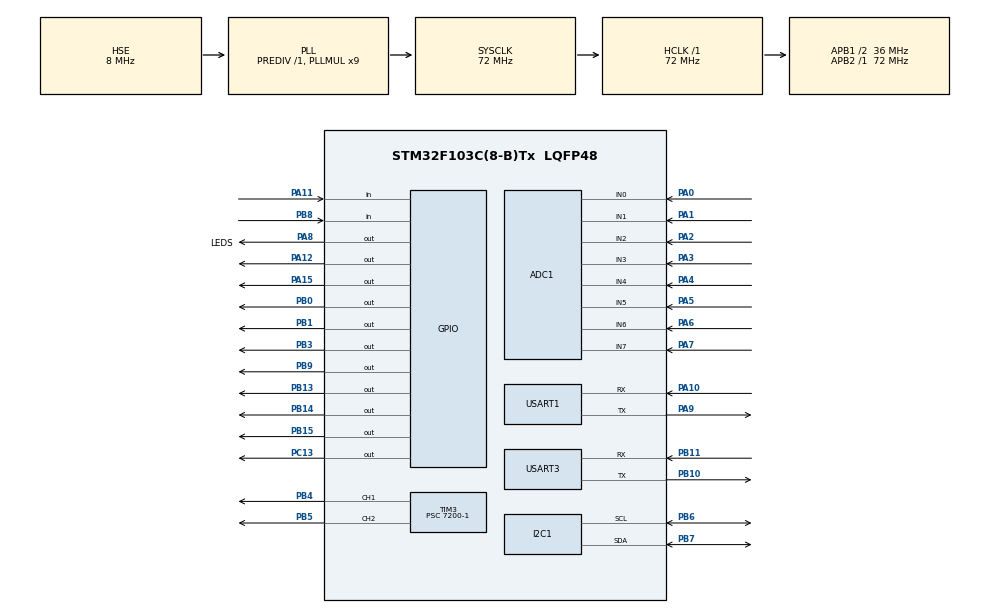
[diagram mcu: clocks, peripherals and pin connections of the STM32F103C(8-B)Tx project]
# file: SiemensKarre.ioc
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ADC1.Channel-8\#ChannelRegularConversion=ADC_CHANNEL_0
ADC1.EnableRegularConversion=ENABLE
ADC1.NbrOfConversionFlag=1
ADC1.Rank-8\#ChannelRegularConversion=1
ADC1.SamplingTime-8\#ChannelRegularConversion=ADC_SAMPLETIME_1CYCLE_5
ADC1.master=1
Mcu.Family=STM32F1
Mcu.Name=STM32F103C(8-B)Tx
Mcu.Package=LQFP48
NVIC.PriorityGroup=NVIC_PRIORITYGROUP_4
NVIC.TIM2_IRQn=true\:0\:0\:false\:false\:true\:true\:true
NVIC.TIM4_IRQn=true\:0\:0\:false\:false\:true\:true\:true
NVIC.USART1_IRQn=true\:0\:0\:false\:false\:true\:true\:true
PA0-WKUP.Signal=ADCx_IN0
PA1.Signal=ADCx_IN1
PA10.Mode=Asynchronous
PA10.Signal=USART1_RX
PA11.Signal=GPIO_Input
PA12.Signal=GPIO_Output
PA13.Mode=Serial_Wire
PA13.Signal=SYS_JTMS-SWDIO
PA14.Mode=Serial_Wire
PA14.Signal=SYS_JTCK-SWCLK
PA15.Signal=GPIO_Output
PA2.Signal=ADCx_IN2
PA3.Signal=ADCx_IN3
PA4.Signal=ADCx_IN4
PA5.Signal=ADCx_IN5
PA6.Signal=ADCx_IN6
PA7.Signal=ADCx_IN7
PA8.GPIO_Label=LEDS
PA8.GPIO_Speed=GPIO_SPEED_FREQ_HIGH
PA8.PinState=GPIO_PIN_RESET
PA8.Signal=GPIO_Output
PA9.Mode=Asynchronous
PA9.Signal=USART1_TX
PB0.GPIO_ModeDefaultOutputPP=GPIO_MODE_OUTPUT_PP
PB0.PinState=GPIO_PIN_SET
PB0.Signal=GPIO_Output
PB1.Signal=GPIO_Output
PB10.Mode=Asynchronous
PB10.Signal=USART3_TX
PB11.Mode=Asynchronous
PB11.Signal=USART3_RX
PB13.Signal=GPIO_Output
PB14.Signal=GPIO_Output
PB15.Signal=GPIO_Output
PB3.Signal=GPIO_Output
PB4.Signal=S_TIM3_CH1
PB5.Signal=S_TIM3_CH2
PB6.Mode=I2C
PB6.Signal=I2C1_SCL
PB7.Mode=I2C
PB7.Signal=I2C1_SDA
PB8.Signal=GPIO_Input
PB9.Signal=GPIO_Output
PC13-TAMPER-RTC.Signal=GPIO_Output
PC14-OSC32_IN.Mode=LSE-External-Oscillator
PC14-OSC32_IN.Signal=RCC_OSC32_IN
PC15-OSC32_OUT.Mode=LSE-External-Oscillator
PC15-OSC32_OUT.Signal=RCC_OSC32_OUT
PD0-OSC_IN.Mode=HSE-External-Oscillator
PD0-OSC_IN.Signal=RCC_OSC_IN
PD1-OSC_OUT.Mode=HSE-External-Oscillator
PD1-OSC_OUT.Signal=RCC_OSC_OUT
ProjectManager.HeapSize=0x200
ProjectManager.StackSize=0x400
ProjectManager.TargetToolchain=STM32CubeIDE
RCC.ADCPresc=RCC_ADCPCLK2_DIV6
RCC.AHBFreq_Value=72000000
RCC.APB1CLKDivider=RCC_HCLK_DIV2
RCC.APB1Freq_Value=36000000
RCC.APB1TimFreq_Value=72000000
RCC.APB2Freq_Value=72000000
RCC.APB2TimFreq_Value=72000000
RCC.HCLKFreq_Value=72000000
RCC.PLLMUL=RCC_PLL_MUL9
RCC.PLLSourceVirtual=RCC_PLLSOURCE_HSE
RCC.SYSCLKFreq_VALUE=72000000
RCC.SYSCLKSource=RCC_SYSCLKSOURCE_PLLCLK
RCC.USBFreq_Value=72000000
SH.ADCx_IN0.0=ADC1_IN0,IN0
SH.ADCx_IN1.0=ADC1_IN1,IN1
SH.ADCx_IN2.0=ADC1_IN2,IN2
SH.ADCx_IN3.0=ADC1_IN3,IN3
SH.ADCx_IN4.0=ADC1_IN4,IN4
SH.ADCx_IN5.0=ADC1_IN5,IN5
SH.ADCx_IN6.0=ADC1_IN6,IN6
SH.ADCx_IN7.0=ADC1_IN7,IN7
SH.S_TIM3_CH1.0=TIM3_CH1,PWM Generation1 CH1
SH.S_TIM3_CH2.0=TIM3_CH2,PWM Generation2 CH2
TIM2.Prescaler=71
TIM3.AutoReloadPreload=TIM_AUTORELOAD_PRELOAD_ENABLE
TIM3.Channel-PWM\ Generation1\ CH1=TIM_CHANNEL_1
TIM3.Channel-PWM\ Generation2\ CH2=TIM_CHANNEL_2
TIM3.CounterMode=TIM_COUNTERMODE_DOWN
TIM3.Period=200-1
TIM3.Prescaler=7200-1
TIM4.AutoReloadPreload=TIM_AUTORELOAD_PRELOAD_DISABLE
TIM4.Period=60
TIM4.Prescaler=57600-1
USART1.VirtualMode=VM_ASYNC
USART3.VirtualMode=VM_ASYNC
VP_TIM1_VS_ClockSourceINT.Mode=Internal
VP_TIM2_VS_ClockSourceINT.Mode=Internal
VP_TIM3_VS_ClockSourceINT.Mode=Internal
VP_TIM4_VS_ClockSourceINT.Mode=Internal
board=custom

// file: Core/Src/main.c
/* USER CODE BEGIN Header */
/**
  ******************************************************************************
  * @file           : main.c
  * @brief          : Main program body
  ******************************************************************************
  * @attention
  *
  * <h2><center>&copy; Copyright (c) 2021 STMicroelectronics.
  * All rights reserved.</center></h2>
  *
  * This software component is licensed by ST under BSD 3-Clause license,
  * the "License"; You may not use this file except in compliance with the
  * License. You may obtain a copy of the License at:
  *                        opensource.org/licenses/BSD-3-Clause
  *
  ******************************************************************************
  */
/* USER CODE END Header */
#include "main.h"

/* USER CODE BEGIN Includes */
#include "UART.hpp"
#include "ADC.hpp"
#include "Watchdog.hpp"
#include "Railcontrol.hpp"
#include "Ultrasonic.hpp"
#include "DS18B20.hpp"
#include "Timing.hpp"
#include "Servo.hpp"
#include "LED.hpp"
#include "sht3x.hpp"
/* USER CODE END Includes */

/* USER CODE BEGIN PD */
#define UART_DATA_DELAY 100
/* USER CODE END PD */

ADC_HandleTypeDef hadc1;

I2C_HandleTypeDef hi2c1;

TIM_HandleTypeDef htim1;
TIM_HandleTypeDef htim2;
TIM_HandleTypeDef htim3;
TIM_HandleTypeDef htim4;

UART_HandleTypeDef huart1;
UART_HandleTypeDef huart3;

/* USER CODE BEGIN PV */
uint8_t *RX_BUFFER;
bool parse_uart = false;
bool ledRefresh = false;

bool first = true;
bool measured = true;
uint16_t counts = 0;
/* USER CODE END PV */

void SystemClock_Config(void);
static void MX_GPIO_Init(void);
static void MX_ADC1_Init(void);
static void MX_I2C1_Init(void);
static void MX_USART1_UART_Init(void);
static void MX_USART3_UART_Init(void);
static void MX_TIM1_Init(void);
static void MX_TIM2_Init(void);
static void MX_TIM3_Init(void);
static void MX_TIM4_Init(void);

int main(void)
{

  /* MCU Configuration--------------------------------------------------------*/

  /* Reset of all peripherals, Initializes the Flash interface and the Systick. */
  HAL_Init();

  /* Configure the system clock */
  SystemClock_Config();

  /* Initialize all configured peripherals */
  MX_GPIO_Init();
  MX_ADC1_Init();
  MX_I2C1_Init();
  MX_USART1_UART_Init();
  MX_USART3_UART_Init();
  MX_TIM1_Init();
  MX_TIM2_Init();
  MX_TIM3_Init();
  MX_TIM4_Init();
  /* USER CODE BEGIN 2 */

  //Create RAILCONTROL for toggling voltage rails
  RAILCONTROL rail = RAILCONTROL();
  rail.set24VRail(false);
  rail.setADJRail(false);

  //Create PRINTER for Debug Messages
  PRINTER printer = PRINTER(&huart3);
  printer.printString("PCB: BOOTING....");
  HAL_Delay(1000);

  printer.printString("Initializing INA226...");
  //Create INA226 Power Monitor Object
  INA226 ina = INA226(&hi2c1);

  printer.printString("Initializing LEDs...");
  //Create LED Object
  LED led = LED();

  led.setSTAT1(false);
  led.setSTAT2(true);

  led.setAllNeopixels(0, 0, 0);
  HAL_Delay(500);
  led.setNeopixel(255,255,255, 10);
  for(uint8_t cnt = 0; cnt < 11; cnt++)
    {
	  led.setNeopixel(255,255,255, 11+cnt);
  	led.setNeopixel(255,255,255, 10-cnt);
  	HAL_Delay(50);
    }

  printer.printString("Waiting for a few seconds....");
  for(uint8_t cnt = 0; cnt < 5; cnt++)
  {
	  led.toggleSTAT(2);
	  HAL_Delay(1000);
  }
  led.setSTAT2(true);

  printer.printString("Initializing ADCs...");
  //Create ADC Object
  ADC adc = ADC(&hadc1);

  printer.printString("Initializing DS18B20...");
  //Create TIMER Object for DS18B20
  TIMER timer = TIMER(&htim2);
  //Create DS18B20 Object for On-Board Sensor
  DS18B20 tempPCB = DS18B20(&timer);

  printer.printString("Initializing UART1 Communication Handler...");
  //Create UART Handler
  UART uart = UART(&huart1, &ina, &printer, &tempPCB);
  RX_BUFFER = uart.RXBuffer;  //Make the pointer to RXBuffer globally available, needed for the ISR

  printer.printString("Initializing Servo...");
  //Create Servo Object
  SERVO servo = SERVO(&htim3);

  printer.printString("Initializing MPU6050 Gyroscope...");
  //Create MPU6050 Gyro Object
  MPU6050_t MPU6050;
  //Try to initialise Gyroscope Sensor
  uint8_t mpuInitTry = 0;
  bool gyroInitialised = true;

  while(MPU6050_Init(&hi2c1) == 1)
  {
	  if(mpuInitTry >= 5)
	  {
		  printer.printString("ERROR: MPU6050 Gyroscope initialization failed!");
		  led.setSTAT1(true);
		  gyroInitialised = false;
		  break;
	  }
	  mpuInitTry++;
  }

  printer.printString("Initializing SHT31 Temperature Sensor...");
  //Create Handle for SHT31 Sensor
  sht3x_handle_t handle = {
        .i2c_handle = &hi2c1,
        .device_address = SHT3X_I2C_DEVICE_ADDRESS_ADDR_PIN_LOW
  };
  //Try to initialise SHT31 Sensor
  bool shtInitialised = true;
  if(!sht3x_init(&handle))
  {
	  printer.printString("ERROR: SHT31 Sensor initialization failed!");
	  shtInitialised = false;
	  led.setSTAT1(true);
  }

  //ULTRA ultra = ULTRA(GPIOA, GPIO_PIN_12, GPIOA, GPIO_PIN_11, &timer);
  //WATCHDOG watchdog = WATCHDOG(&adc, &printer, &rail, &ina);

  printer.printString("Initializing Hardware Timer...");
  HAL_TIM_Base_Start(&htim1);
  HAL_TIM_Base_Start(&htim2);
  HAL_TIM_Base_Start(&htim3);
  HAL_TIM_Base_Start(&htim4);
  //watchdog.fullSelftest();
  //HAL_Delay(1000);

  printer.printString("Success! Entering main loop!");

  /* USER CODE END 2 */

  /* Infinite loop */
  /* USER CODE BEGIN WHILE */
  uint8_t batCnt = 0;
  uint8_t tempCnt = 0;
  uint32_t ledTicks = HAL_GetTick();

  while (1)
  {
    /* USER CODE END WHILE */

    /* USER CODE BEGIN 3 */
	    if (parse_uart)
	    {
	      uart.parseMessage();
	      parse_uart = false;

	      led.toggleSTAT(2);
	    }

	    if(HAL_GetTick() - ledTicks >= 50)
	    {
	    	ledTicks = HAL_GetTick();
	    	led._updateCNT++;
			switch(led._mode)
			{
			case LED_BLINK_RIGHT:

				break;

			case LED_IDLE:
			default:
				uint8_t baseColor[3]={128,0,0};
				led.animateSine(baseColor, 0.2, 200, 1);
				break;
			}
	    }

	    tempCnt++;

	    uart.sendBATstatus();

	    if(gyroInitialised)
		{
	    	HAL_Delay(UART_DATA_DELAY);
			MPU6050_Read_All(&hi2c1, &MPU6050);
			uart.sendGYROAngle(MPU6050.KalmanAngleX, MPU6050.KalmanAngleY);
			HAL_Delay(UART_DATA_DELAY / 2);
			uart.sendGYROAccel(MPU6050.Ax, MPU6050.Ay, MPU6050.Az);
			HAL_Delay(UART_DATA_DELAY / 2);
			uart.sendGYROVeloc(MPU6050.Gx, MPU6050.Gy, MPU6050.Gz);
		}
	    if(tempCnt >= 10)
	    {
	    	float temperature=0, humidity = 0;
			if(shtInitialised)
			{
				sht3x_read_temperature_and_humidity(&handle, &temperature, &humidity);
			}
	    	//uart.sendTEMPstatus(temperature, humidity);
	    	tempCnt = 0;
	    }

	    HAL_Delay(UART_DATA_DELAY);
	    /*
	    uint8_t baseColor[3] = {0,0,128};
	    if(TIM4->CNT >= 50) {
	    	led._updateCNT++;
	    	led.animateSine(baseColor, 0.2, 150, 1);
	    	TIM4->CNT = 0;
	    }
		*/
	    /*
	    for(uint8_t cnt = 5; cnt < 22 - 5; cnt++)
	    {
	    	led.setNeopixel(255,255,255, cnt);
	    }

	    uint8_t color[3] = {255,100,0};
	    for(uint8_t cnt = 0; cnt < 5; cnt++)
	    {
	    	led.setNeopixel(color, 5-cnt);
	    	led.setNeopixel(color, 21-5+cnt);
	    	HAL_Delay(50);
	    }
	    HAL_Delay(700);
	    for(uint8_t cnt = 0; cnt < 5; cnt++)
		{
			led.setNeopixel(0,0,0, 5-cnt);
			led.setNeopixel(0,0,0, 21-5+cnt);
		}

	    */

  }
  /* USER CODE END 3 */
}

void SystemClock_Config(void)
{
  RCC_OscInitTypeDef RCC_OscInitStruct = {0};
  RCC_ClkInitTypeDef RCC_ClkInitStruct = {0};
  RCC_PeriphCLKInitTypeDef PeriphClkInit = {0};

  /** Initializes the RCC Oscillators according to the specified parameters
  * in the RCC_OscInitTypeDef structure.
  */
  RCC_OscInitStruct.OscillatorType = RCC_OSCILLATORTYPE_HSE;
  RCC_OscInitStruct.HSEState = RCC_HSE_ON;
  RCC_OscInitStruct.HSEPredivValue = RCC_HSE_PREDIV_DIV1;
  RCC_OscInitStruct.HSIState = RCC_HSI_ON;
  RCC_OscInitStruct.PLL.PLLState = RCC_PLL_ON;
  RCC_OscInitStruct.PLL.PLLSource = RCC_PLLSOURCE_HSE;
  RCC_OscInitStruct.PLL.PLLMUL = RCC_PLL_MUL9;
  if (HAL_RCC_OscConfig(&RCC_OscInitStruct) != HAL_OK)
  {
    Error_Handler();
  }
  /** Initializes the CPU, AHB and APB buses clocks
  */
  RCC_ClkInitStruct.ClockType = RCC_CLOCKTYPE_HCLK|RCC_CLOCKTYPE_SYSCLK
                              |RCC_CLOCKTYPE_PCLK1|RCC_CLOCKTYPE_PCLK2;
  RCC_ClkInitStruct.SYSCLKSource = RCC_SYSCLKSOURCE_PLLCLK;
  RCC_ClkInitStruct.AHBCLKDivider = RCC_SYSCLK_DIV1;
  RCC_ClkInitStruct.APB1CLKDivider = RCC_HCLK_DIV2;
  RCC_ClkInitStruct.APB2CLKDivider = RCC_HCLK_DIV1;

  if (HAL_RCC_ClockConfig(&RCC_ClkInitStruct, FLASH_LATENCY_2) != HAL_OK)
  {
    Error_Handler();
  }
  PeriphClkInit.PeriphClockSelection = RCC_PERIPHCLK_ADC;
  PeriphClkInit.AdcClockSelection = RCC_ADCPCLK2_DIV6;
  if (HAL_RCCEx_PeriphCLKConfig(&PeriphClkInit) != HAL_OK)
  {
    Error_Handler();
  }
}

static void MX_ADC1_Init(void)
{

  ADC_ChannelConfTypeDef sConfig = {0};

  /** Common config
  */
  hadc1.Instance = ADC1;
  hadc1.Init.ScanConvMode = ADC_SCAN_DISABLE;
  hadc1.Init.ContinuousConvMode = DISABLE;
  hadc1.Init.DiscontinuousConvMode = DISABLE;
  hadc1.Init.ExternalTrigConv = ADC_SOFTWARE_START;
  hadc1.Init.DataAlign = ADC_DATAALIGN_RIGHT;
  hadc1.Init.NbrOfConversion = 1;
  if (HAL_ADC_Init(&hadc1) != HAL_OK)
  {
    Error_Handler();
  }
  /** Configure Regular Channel
  */
  sConfig.Channel = ADC_CHANNEL_0;
  sConfig.Rank = ADC_REGULAR_RANK_1;
  sConfig.SamplingTime = ADC_SAMPLETIME_1CYCLE_5;
  if (HAL_ADC_ConfigChannel(&hadc1, &sConfig) != HAL_OK)
  {
    Error_Handler();
  }

}

static void MX_I2C1_Init(void)
{

  hi2c1.Instance = I2C1;
  hi2c1.Init.ClockSpeed = 100000;
  hi2c1.Init.DutyCycle = I2C_DUTYCYCLE_2;
  hi2c1.Init.OwnAddress1 = 0;
  hi2c1.Init.AddressingMode = I2C_ADDRESSINGMODE_7BIT;
  hi2c1.Init.DualAddressMode = I2C_DUALADDRESS_DISABLE;
  hi2c1.Init.OwnAddress2 = 0;
  hi2c1.Init.GeneralCallMode = I2C_GENERALCALL_DISABLE;
  hi2c1.Init.NoStretchMode = I2C_NOSTRETCH_DISABLE;
  if (HAL_I2C_Init(&hi2c1) != HAL_OK)
  {
    Error_Handler();
  }

}

static void MX_TIM1_Init(void)
{

  TIM_ClockConfigTypeDef sClockSourceConfig = {0};
  TIM_MasterConfigTypeDef sMasterConfig = {0};

  htim1.Instance = TIM1;
  htim1.Init.Prescaler = 0;
  htim1.Init.CounterMode = TIM_COUNTERMODE_UP;
  htim1.Init.Period = 65535;
  htim1.Init.ClockDivision = TIM_CLOCKDIVISION_DIV1;
  htim1.Init.RepetitionCounter = 0;
  htim1.Init.AutoReloadPreload = TIM_AUTORELOAD_PRELOAD_DISABLE;
  if (HAL_TIM_Base_Init(&htim1) != HAL_OK)
  {
    Error_Handler();
  }
  sClockSourceConfig.ClockSource = TIM_CLOCKSOURCE_INTERNAL;
  if (HAL_TIM_ConfigClockSource(&htim1, &sClockSourceConfig) != HAL_OK)
  {
    Error_Handler();
  }
  sMasterConfig.MasterOutputTrigger = TIM_TRGO_RESET;
  sMasterConfig.MasterSlaveMode = TIM_MASTERSLAVEMODE_DISABLE;
  if (HAL_TIMEx_MasterConfigSynchronization(&htim1, &sMasterConfig) != HAL_OK)
  {
    Error_Handler();
  }

}

static void MX_TIM2_Init(void)
{

  TIM_ClockConfigTypeDef sClockSourceConfig = {0};
  TIM_MasterConfigTypeDef sMasterConfig = {0};

  htim2.Instance = TIM2;
  htim2.Init.Prescaler = 71;
  htim2.Init.CounterMode = TIM_COUNTERMODE_UP;
  htim2.Init.Period = 65535;
  htim2.Init.ClockDivision = TIM_CLOCKDIVISION_DIV1;
  htim2.Init.AutoReloadPreload = TIM_AUTORELOAD_PRELOAD_DISABLE;
  if (HAL_TIM_Base_Init(&htim2) != HAL_OK)
  {
    Error_Handler();
  }
  sClockSourceConfig.ClockSource = TIM_CLOCKSOURCE_INTERNAL;
  if (HAL_TIM_ConfigClockSource(&htim2, &sClockSourceConfig) != HAL_OK)
  {
    Error_Handler();
  }
  sMasterConfig.MasterOutputTrigger = TIM_TRGO_RESET;
  sMasterConfig.MasterSlaveMode = TIM_MASTERSLAVEMODE_DISABLE;
  if (HAL_TIMEx_MasterConfigSynchronization(&htim2, &sMasterConfig) != HAL_OK)
  {
    Error_Handler();
  }

}

static void MX_TIM3_Init(void)
{

  TIM_ClockConfigTypeDef sClockSourceConfig = {0};
  TIM_MasterConfigTypeDef sMasterConfig = {0};
  TIM_OC_InitTypeDef sConfigOC = {0};

  htim3.Instance = TIM3;
  htim3.Init.Prescaler = 7200-1;
  htim3.Init.CounterMode = TIM_COUNTERMODE_DOWN;
  htim3.Init.Period = 200-1;
  htim3.Init.ClockDivision = TIM_CLOCKDIVISION_DIV1;
  htim3.Init.AutoReloadPreload = TIM_AUTORELOAD_PRELOAD_ENABLE;
  if (HAL_TIM_Base_Init(&htim3) != HAL_OK)
  {
    Error_Handler();
  }
  sClockSourceConfig.ClockSource = TIM_CLOCKSOURCE_INTERNAL;
  if (HAL_TIM_ConfigClockSource(&htim3, &sClockSourceConfig) != HAL_OK)
  {
    Error_Handler();
  }
  if (HAL_TIM_PWM_Init(&htim3) != HAL_OK)
  {
    Error_Handler();
  }
  sMasterConfig.MasterOutputTrigger = TIM_TRGO_RESET;
  sMasterConfig.MasterSlaveMode = TIM_MASTERSLAVEMODE_DISABLE;
  if (HAL_TIMEx_MasterConfigSynchronization(&htim3, &sMasterConfig) != HAL_OK)
  {
    Error_Handler();
  }
  sConfigOC.OCMode = TIM_OCMODE_PWM1;
  sConfigOC.Pulse = 0;
  sConfigOC.OCPolarity = TIM_OCPOLARITY_HIGH;
  sConfigOC.OCFastMode = TIM_OCFAST_DISABLE;
  if (HAL_TIM_PWM_ConfigChannel(&htim3, &sConfigOC, TIM_CHANNEL_1) != HAL_OK)
  {
    Error_Handler();
  }
  if (HAL_TIM_PWM_ConfigChannel(&htim3, &sConfigOC, TIM_CHANNEL_2) != HAL_OK)
  {
    Error_Handler();
  }
  HAL_TIM_MspPostInit(&htim3);

}

static void MX_TIM4_Init(void)
{

  TIM_ClockConfigTypeDef sClockSourceConfig = {0};
  TIM_MasterConfigTypeDef sMasterConfig = {0};

  htim4.Instance = TIM4;
  htim4.Init.Prescaler = 57600-1;
  htim4.Init.CounterMode = TIM_COUNTERMODE_UP;
  htim4.Init.Period = 60;
  htim4.Init.ClockDivision = TIM_CLOCKDIVISION_DIV1;
  htim4.Init.AutoReloadPreload = TIM_AUTORELOAD_PRELOAD_DISABLE;
  if (HAL_TIM_Base_Init(&htim4) != HAL_OK)
  {
    Error_Handler();
  }
  sClockSourceConfig.ClockSource = TIM_CLOCKSOURCE_INTERNAL;
  if (HAL_TIM_ConfigClockSource(&htim4, &sClockSourceConfig) != HAL_OK)
  {
    Error_Handler();
  }
  sMasterConfig.MasterOutputTrigger = TIM_TRGO_RESET;
  sMasterConfig.MasterSlaveMode = TIM_MASTERSLAVEMODE_DISABLE;
  if (HAL_TIMEx_MasterConfigSynchronization(&htim4, &sMasterConfig) != HAL_OK)
  {
    Error_Handler();
  }

}

static void MX_USART1_UART_Init(void)
{

  huart1.Instance = USART1;
  huart1.Init.BaudRate = 115200;
  huart1.Init.WordLength = UART_WORDLENGTH_8B;
  huart1.Init.StopBits = UART_STOPBITS_1;
  huart1.Init.Parity = UART_PARITY_NONE;
  huart1.Init.Mode = UART_MODE_TX_RX;
  huart1.Init.HwFlowCtl = UART_HWCONTROL_NONE;
  huart1.Init.OverSampling = UART_OVERSAMPLING_16;
  if (HAL_UART_Init(&huart1) != HAL_OK)
  {
    Error_Handler();
  }

}

static void MX_USART3_UART_Init(void)
{

  huart3.Instance = USART3;
  huart3.Init.BaudRate = 115200;
  huart3.Init.WordLength = UART_WORDLENGTH_8B;
  huart3.Init.StopBits = UART_STOPBITS_1;
  huart3.Init.Parity = UART_PARITY_NONE;
  huart3.Init.Mode = UART_MODE_TX_RX;
  huart3.Init.HwFlowCtl = UART_HWCONTROL_NONE;
  huart3.Init.OverSampling = UART_OVERSAMPLING_16;
  if (HAL_UART_Init(&huart3) != HAL_OK)
  {
    Error_Handler();
  }

}

static void MX_GPIO_Init(void)
{
  GPIO_InitTypeDef GPIO_InitStruct = {0};

  /* GPIO Ports Clock Enable */
  __HAL_RCC_GPIOC_CLK_ENABLE();
  __HAL_RCC_GPIOD_CLK_ENABLE();
  __HAL_RCC_GPIOA_CLK_ENABLE();
  __HAL_RCC_GPIOB_CLK_ENABLE();

  /*Configure GPIO pin Output Level */
  HAL_GPIO_WritePin(GPIOC, GPIO_PIN_13, GPIO_PIN_RESET);

  /*Configure GPIO pin Output Level */
  HAL_GPIO_WritePin(GPIOB, GPIO_PIN_0, GPIO_PIN_SET);

  /*Configure GPIO pin Output Level */
  HAL_GPIO_WritePin(GPIOB, GPIO_PIN_1|GPIO_PIN_13|GPIO_PIN_14|GPIO_PIN_15
                          |GPIO_PIN_3|GPIO_PIN_9, GPIO_PIN_RESET);

  /*Configure GPIO pin Output Level */
  HAL_GPIO_WritePin(GPIOA, LEDS_Pin|GPIO_PIN_12|GPIO_PIN_15, GPIO_PIN_RESET);

  /*Configure GPIO pin : PC13 */
  GPIO_InitStruct.Pin = GPIO_PIN_13;
  GPIO_InitStruct.Mode = GPIO_MODE_OUTPUT_PP;
  GPIO_InitStruct.Pull = GPIO_NOPULL;
  GPIO_InitStruct.Speed = GPIO_SPEED_FREQ_LOW;
  HAL_GPIO_Init(GPIOC, &GPIO_InitStruct);

  /*Configure GPIO pins : PB0 PB1 PB13 PB14
                           PB15 PB3 PB9 */
  GPIO_InitStruct.Pin = GPIO_PIN_0|GPIO_PIN_1|GPIO_PIN_13|GPIO_PIN_14
                          |GPIO_PIN_15|GPIO_PIN_3|GPIO_PIN_9;
  GPIO_InitStruct.Mode = GPIO_MODE_OUTPUT_PP;
  GPIO_InitStruct.Pull = GPIO_NOPULL;
  GPIO_InitStruct.Speed = GPIO_SPEED_FREQ_LOW;
  HAL_GPIO_Init(GPIOB, &GPIO_InitStruct);

  /*Configure GPIO pin : LEDS_Pin */
  GPIO_InitStruct.Pin = LEDS_Pin;
  GPIO_InitStruct.Mode = GPIO_MODE_OUTPUT_PP;
  GPIO_InitStruct.Pull = GPIO_NOPULL;
  GPIO_InitStruct.Speed = GPIO_SPEED_FREQ_HIGH;
  HAL_GPIO_Init(LEDS_GPIO_Port, &GPIO_InitStruct);

  /*Configure GPIO pin : PA11 */
  GPIO_InitStruct.Pin = GPIO_PIN_11;
  GPIO_InitStruct.Mode = GPIO_MODE_INPUT;
  GPIO_InitStruct.Pull = GPIO_NOPULL;
  HAL_GPIO_Init(GPIOA, &GPIO_InitStruct);

  /*Configure GPIO pins : PA12 PA15 */
  GPIO_InitStruct.Pin = GPIO_PIN_12|GPIO_PIN_15;
  GPIO_InitStruct.Mode = GPIO_MODE_OUTPUT_PP;
  GPIO_InitStruct.Pull = GPIO_NOPULL;
  GPIO_InitStruct.Speed = GPIO_SPEED_FREQ_LOW;
  HAL_GPIO_Init(GPIOA, &GPIO_InitStruct);

  /*Configure GPIO pin : PB8 */
  GPIO_InitStruct.Pin = GPIO_PIN_8;
  GPIO_InitStruct.Mode = GPIO_MODE_INPUT;
  GPIO_InitStruct.Pull = GPIO_NOPULL;
  HAL_GPIO_Init(GPIOB, &GPIO_InitStruct);

}

/* USER CODE BEGIN 4 */
void HAL_TIM_PeriodElapsedCallback(TIM_HandleTypeDef *htim)
{
  // Check which version of the timer triggered this callback and toggle LED
  if (htim == &htim4 )
  {
	  ledRefresh = true;
  }
}
/* USER CODE END 4 */

void Error_Handler(void)
{
  __disable_irq();
  while (1)
  {
  }
}

/************************ (C) COPYRIGHT STMicroelectronics *****END OF FILE****/
